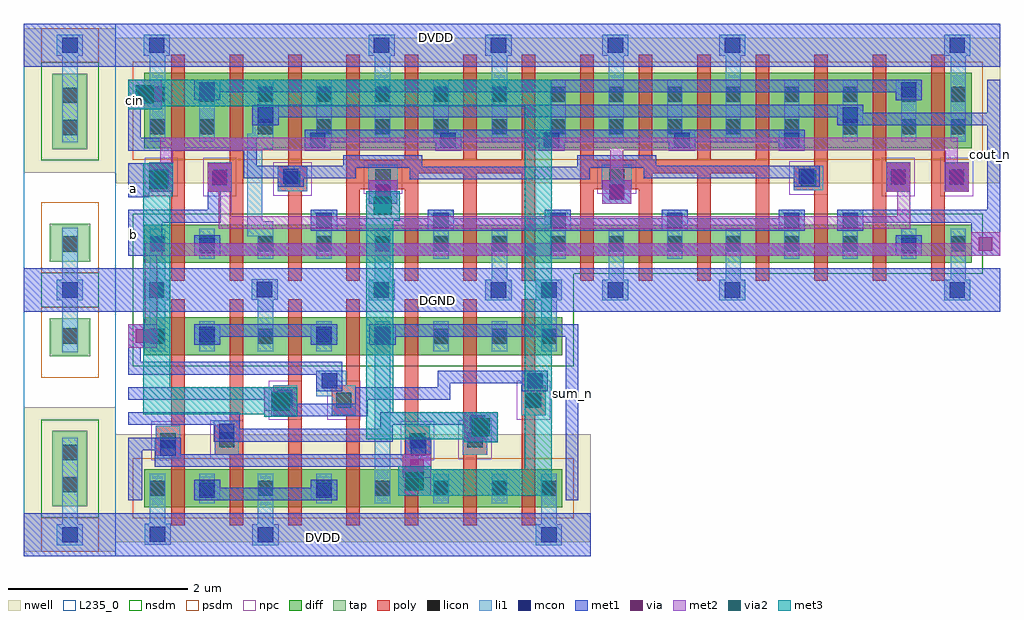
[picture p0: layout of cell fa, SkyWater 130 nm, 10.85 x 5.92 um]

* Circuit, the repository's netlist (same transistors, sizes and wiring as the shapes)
** sch_path: /home/ee24s053/ee5311-2025/tut6/sim/pre_layout/fa.sch
.subckt fa DVDD a b cin sum_n cout_n DGND
*.PININFO DVDD:B DGND:B sum_n:O cout_n:O a:I b:I cin:I
XM3 net5 a DGND DGND sky130_fd_pr__nfet_01v8 L=0.15 W=1.68 nf=1 m=1
XM7 cout_n cin net5 DGND sky130_fd_pr__nfet_01v8 L=0.15 W=0.84 nf=1 m=1
XM8 net5 b DGND DGND sky130_fd_pr__nfet_01v8 L=0.15 W=1.68 nf=1 m=1
XM9 net2 a DGND DGND sky130_fd_pr__nfet_01v8 L=0.15 W=0.42 nf=1 m=1
XM10 net2 b DGND DGND sky130_fd_pr__nfet_01v8 L=0.15 W=0.42 nf=1 m=1
XM11 net2 cin DGND DGND sky130_fd_pr__nfet_01v8 L=0.15 W=0.42 nf=1 m=1
XM12 sum_n cout_n net2 DGND sky130_fd_pr__nfet_01v8 L=0.15 W=0.42 nf=1 m=1
XM13 sum_n cin net7 DGND sky130_fd_pr__nfet_01v8 L=0.15 W=0.42 nf=1 m=1
XM14 net7 b net8 DGND sky130_fd_pr__nfet_01v8 L=0.15 W=0.42 nf=1 m=1
XM15 net8 a DGND DGND sky130_fd_pr__nfet_01v8 L=0.15 W=0.42 nf=1 m=1
XM16 net3 a DVDD DVDD sky130_fd_pr__pfet_01v8 L=0.15 W=1.68 nf=1 m=1
XM18 net4 a DVDD DVDD sky130_fd_pr__pfet_01v8 L=0.15 W=3.36 nf=1 m=1
XM22 cout_n cin net4 DVDD sky130_fd_pr__pfet_01v8 L=0.15 W=1.68 nf=1 m=1
XM23 net4 b DVDD DVDD sky130_fd_pr__pfet_01v8 L=0.15 W=3.36 nf=1 m=1
XM25 sum_n cin net9 DVDD sky130_fd_pr__pfet_01v8 L=0.15 W=0.42 nf=1 m=1
XM26 net9 b net10 DVDD sky130_fd_pr__pfet_01v8 L=0.15 W=0.42 nf=1 m=1
XM27 net10 a DVDD DVDD sky130_fd_pr__pfet_01v8 L=0.15 W=0.42 nf=1 m=1
XM1 net6 a DGND DGND sky130_fd_pr__nfet_01v8 L=0.15 W=0.84 nf=1 m=1
XM2 cout_n b net3 DVDD sky130_fd_pr__pfet_01v8 L=0.15 W=1.68 nf=1 m=1
XM4 cout_n b net6 DGND sky130_fd_pr__nfet_01v8 L=0.15 W=0.84 nf=1 m=1
XM5 net1 a DVDD DVDD sky130_fd_pr__pfet_01v8 L=0.15 W=0.42 nf=1 m=1
XM6 net1 b DVDD DVDD sky130_fd_pr__pfet_01v8 L=0.15 W=0.42 nf=1 m=1
XM17 net1 cin DVDD DVDD sky130_fd_pr__pfet_01v8 L=0.15 W=0.42 nf=1 m=1
XM19 sum_n cout_n net1 DVDD sky130_fd_pr__pfet_01v8 L=0.15 W=0.42 nf=1 m=1
.ends
.end

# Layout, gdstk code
from math import pi, radians
import gdstk
lib = gdstk.Library(unit=1e-6, precision=1e-09)
def R(c, l, rs):  # rectangles x0, y0, x1, y1
    for r in rs: c.add(gdstk.rectangle(r[:2], r[2:], *l))
def A(c, l, x, y, w, h, nx, ny, dx, dy):  # array of equal rectangles
    R(c, l, [(x+i*dx, y+j*dy, x+i*dx+w, y+j*dy+h) for i in range(nx) for j in range(ny)])
nwell = (64, 20)
diff = (65, 20)
tap = (65, 44)
poly = (66, 20)
licon = (66, 44)
li1 = (67, 20)
mcon = (67, 44)
met1 = (68, 20)
via = (68, 44)
met2 = (69, 20)
via2 = (69, 44)
met3 = (70, 20)
nsdm = (93, 44)
psdm = (94, 20)
npc = (95, 20)
L235_0 = (235, 0)

vias_gen = lib.new_cell('vias_gen')
R(vias_gen, li1, [(0,0,0.29,0.23)])
R(vias_gen, mcon, [(0.06,0.03,0.23,0.2)])
R(vias_gen, met1, [(0,0,0.29,0.23)])

tap_2 = lib.new_cell('tap$2')
R(tap_2, nwell, [(-1.455,0.92,-0.435,2.525)])
R(tap_2, tap, [(-1.17,-0.07,-0.72,0.35), (-1.14,1.18,-0.75,2.02)])
R(tap_2, licon, [(-1.03,0.04,-0.86,0.21), (-1.03,1.335,-0.86,1.505), (-1.03,1.695,-0.86,1.865)])
R(tap_2, li1, [(-1.03,-0.3,-0.86,-0.025), (-1.03,-0.025,-0.86,0.305), (-1.03,1.255,-0.86,1.945), (-1.03,1.945,-0.86,2.25)])
R(tap_2, met1, [(-1.455,-0.625,-0.435,-0.145), (-1.455,2.095,-0.435,2.575)])
R(tap_2, nsdm, [(-1.265,-0.575,-0.625,-0.195), (-1.265,1.055,-0.625,2.145)])
R(tap_2, psdm, [(-1.265,-0.195,-0.625,0.59), (-1.265,2.145,-0.625,2.525)])
R(tap_2, L235_0, [(-1.455,-0.625,-0.435,2.575)])
tap_2.add(gdstk.Reference(vias_gen, (-1.09,-0.5)))
tap_2.add(gdstk.Reference(vias_gen, (-1.09,2.22)))

pfet_1_1 = lib.new_cell('pfet$1$1')
R(pfet_1_1, nwell, [(-0.315,-0.39,9.515,1.23)])
R(pfet_1_1, diff, [(0,0,9.2,0.84)])
A(pfet_1_1, poly, 0.3, -0.2, 0.15, 1.24, 14, 1, 0.65, 0)
A(pfet_1_1, licon, 0.615, 0.155, 0.17, 0.17, 13, 2, 0.65, 0.36)
R(pfet_1_1, licon, [(0.065,0.155,0.235,0.325), (8.965,0.155,9.135,0.325), (0.065,0.515,0.235,0.685), (8.965,0.515,9.135,0.685)])
A(pfet_1_1, li1, 0.615, 0.075, 0.17, 0.69, 13, 1, 0.65, 0)
R(pfet_1_1, li1, [(0.065,0.075,0.235,0.765), (8.965,0.075,9.135,0.765)])
R(pfet_1_1, psdm, [(-0.125,-0.125,9.325,0.965)])

nfet_1_1 = lib.new_cell('nfet$1$1')
R(nfet_1_1, diff, [(0,0,9.2,0.42)])
A(nfet_1_1, poly, 0.3, -0.2, 0.15, 0.82, 14, 1, 0.65, 0)
A(nfet_1_1, licon, 0.615, 0.125, 0.17, 0.17, 13, 1, 0.65, 0)
R(nfet_1_1, licon, [(0.065,0.125,0.235,0.295), (8.965,0.125,9.135,0.295)])
A(nfet_1_1, li1, 0.615, 0.045, 0.17, 0.33, 13, 1, 0.65, 0)
R(nfet_1_1, li1, [(0.065,0.045,0.235,0.375), (8.965,0.045,9.135,0.375)])
R(nfet_1_1, nsdm, [(-0.125,-0.125,9.325,0.545)])

vias_gen_1_1 = lib.new_cell('vias_gen$1$1')
R(vias_gen_1_1, li1, [(0,0,0.29,0.23)])
R(vias_gen_1_1, mcon, [(0.06,0.03,0.23,0.2)])
R(vias_gen_1_1, met1, [(0,0,0.29,0.23)])

vias_gen_3_1 = lib.new_cell('vias_gen$3$1')
R(vias_gen_3_1, poly, [(0,0,0.33,0.27)])
R(vias_gen_3_1, licon, [(0.08,0.05,0.25,0.22)])
R(vias_gen_3_1, li1, [(0,0,0.33,0.27)])
R(vias_gen_3_1, npc, [(-0.05,-0.05,0.38,0.32)])

vias_gen_2_1 = lib.new_cell('vias_gen$2$1')
R(vias_gen_2_1, li1, [(0,0,0.29,0.23)])
R(vias_gen_2_1, mcon, [(0.06,0.03,0.23,0.2)])
R(vias_gen_2_1, met1, [(0,0,0.29,0.23)])

vias_gen_4_1 = lib.new_cell('vias_gen$4$1')
R(vias_gen_4_1, li1, [(0,0,0.32,0.26)])
R(vias_gen_4_1, mcon, [(0.075,0.045,0.245,0.215)])
R(vias_gen_4_1, met1, [(0,0,0.32,0.26)])
R(vias_gen_4_1, via, [(0.085,0.055,0.235,0.205)])
R(vias_gen_4_1, met2, [(0,0,0.32,0.26)])

fa_carry_wo_tap = lib.new_cell('fa_carry_wo_tap')
R(fa_carry_wo_tap, poly, [(-6,0.495,-5.91,0.675), (-5.58,0.495,-5.5,0.675), (-3.4,0.495,-3.31,0.675), (-2.98,0.495,-2.9,0.675)])
R(fa_carry_wo_tap, li1, [(-7.255,-0.03,-6.965,0.14), (-7.255,0.94,-6.965,1.11), (-7.195,1.11,-7.135,1.205)])
R(fa_carry_wo_tap, met1, [(-8.715,-0.865,1.115,-0.385), (-8.575,-0.105,-8.34,0.265), (-8.575,0.405,-8.34,0.785), (-8.715,1.855,1.115,2.335)])
fa_carry_wo_tap.add(gdstk.FlexPath([(-4.45,1.715),(-4.45,1.98)], 0.17, ends="flush", simple_path=True, layer=67, datatype=20))  # li1
fa_carry_wo_tap.add(gdstk.FlexPath([(-5.75,1.715),(-5.75,1.98)], 0.17, ends="flush", simple_path=True, layer=67, datatype=20))  # li1
fa_carry_wo_tap.add(gdstk.FlexPath([(0.65,1.715),(0.65,1.98)], 0.17, ends="flush", simple_path=True, layer=67, datatype=20))  # li1
fa_carry_wo_tap.add(gdstk.FlexPath([(-8.25,1.715),(-8.25,1.98)], 0.17, ends="flush", simple_path=True, layer=67, datatype=20))  # li1
fa_carry_wo_tap.add(gdstk.FlexPath([(-3.15,1.715),(-3.15,1.98)], 0.17, ends="flush", simple_path=True, layer=67, datatype=20))  # li1
fa_carry_wo_tap.add(gdstk.FlexPath([(-1.85,1.715),(-1.85,1.98)], 0.17, ends="flush", simple_path=True, layer=67, datatype=20))  # li1
fa_carry_wo_tap.add(gdstk.FlexPath([(-4.45,-0.275),(-4.45,-0.51)], 0.17, ends="flush", simple_path=True, layer=67, datatype=20))  # li1
fa_carry_wo_tap.add(gdstk.FlexPath([(-5.75,-0.275),(-5.75,-0.51)], 0.17, ends="flush", simple_path=True, layer=67, datatype=20))  # li1
fa_carry_wo_tap.add(gdstk.FlexPath([(0.65,-0.275),(0.65,-0.51)], 0.17, ends="flush", simple_path=True, layer=67, datatype=20))  # li1
fa_carry_wo_tap.add(gdstk.FlexPath([(-8.25,-0.275),(-8.25,-0.51)], 0.17, ends="flush", simple_path=True, layer=67, datatype=20))  # li1
fa_carry_wo_tap.add(gdstk.FlexPath([(-3.15,-0.275),(-3.15,-0.51)], 0.17, ends="flush", simple_path=True, layer=67, datatype=20))  # li1
fa_carry_wo_tap.add(gdstk.FlexPath([(-1.85,-0.275),(-1.85,-0.51)], 0.17, ends="flush", simple_path=True, layer=67, datatype=20))  # li1
fa_carry_wo_tap.add(gdstk.FlexPath([(-7.17,0.055),(-7.17,1.025)], 0.17, ends="flush", simple_path=True, layer=67, datatype=20))  # li1
fa_carry_wo_tap.add(gdstk.FlexPath([(-1.18,0.685),(-2.775,0.685),(-2.775,0.805),(-3.515,0.805),(-3.515,0.675),(-5.375,0.675),(-5.375,0.805),(-6.115,0.805),(-6.115,0.685),(-6.625,0.685)], 0.14, ends="flush", simple_path=True, layer=68, datatype=20))  # met1
fa_carry_wo_tap.add(gdstk.FlexPath([(-6.915,0.685),(-7.22,0.685),(-7.22,0.995),(-8.505,0.995),(-8.505,1.715)], 0.14, ends="flush", simple_path=True, layer=68, datatype=20))  # met1
fa_carry_wo_tap.add(gdstk.FlexPath([(-7.62,0.465),(-7.62,0.195),(-8.27,0.195),(-8.27,-0.175),(-8.575,-0.175)], 0.14, ends="flush", simple_path=True, layer=68, datatype=20))  # met1
fa_carry_wo_tap.add(gdstk.FlexPath([(-1.345,1.085),(-6.325,1.085)], 0.14, ends="flush", simple_path=True, layer=68, datatype=20))  # met1
fa_carry_wo_tap.add(gdstk.FlexPath([(-0.045,1.645),(-7.555,1.645)], 0.14, ends="flush", simple_path=True, layer=68, datatype=20))  # met1
fa_carry_wo_tap.add(gdstk.FlexPath([(-0.695,1.365),(-6.905,1.365)], 0.14, ends="flush", simple_path=True, layer=68, datatype=20))  # met1
fa_carry_wo_tap.add(gdstk.FlexPath([(-0.045,-0.175),(-7.555,-0.175)], 0.14, ends="flush", simple_path=True, layer=68, datatype=20))  # met1
fa_carry_wo_tap.add(gdstk.FlexPath([(-1.345,0.105),(-6.255,0.105)], 0.14, ends="flush", simple_path=True, layer=68, datatype=20))  # met1
fa_carry_wo_tap.add(gdstk.FlexPath([(-0.405,0.195),(1.045,0.195),(1.045,1.715)], 0.14, ends="flush", simple_path=True, layer=68, datatype=20))  # met1
fa_carry_wo_tap.add(gdstk.FlexPath([(1.045,0.125),(1.045,-0.245)], 0.14, ends="flush", simple_path=True, layer=68, datatype=20))  # met1
fa_carry_wo_tap.add(gdstk.FlexPath([(-0.405,1.275),(0.975,1.275)], 0.14, ends="flush", simple_path=True, layer=68, datatype=20))  # met1
fa_carry_wo_tap.add(gdstk.FlexPath([(-7.57,0.125),(0.115,0.125)], 0.14, ends="flush", simple_path=True, layer=69, datatype=20))  # met2
fa_carry_wo_tap.add(gdstk.FlexPath([(-8.22,1),(0.645,1)], 0.14, ends="flush", simple_path=True, layer=69, datatype=20))  # met2
fa_carry_wo_tap.add(gdstk.FlexPath([(-8.15,0.785),(-8.15,0.93)], 0.14, ends="flush", simple_path=True, layer=69, datatype=20))  # met2
fa_carry_wo_tap.add(gdstk.FlexPath([(-3.145,0.595),(-3.145,0.93)], 0.14, ends="flush", simple_path=True, layer=69, datatype=20))  # met2
fa_carry_wo_tap.add(gdstk.FlexPath([(0.575,0.79),(0.575,0.93)], 0.14, ends="flush", simple_path=True, layer=69, datatype=20))  # met2
fa_carry_wo_tap.add(gdstk.FlexPath([(-7.5,0.465),(-7.5,0.195)], 0.14, ends="flush", simple_path=True, layer=69, datatype=20))  # met2
fa_carry_wo_tap.add(gdstk.FlexPath([(-5.745,0.335),(-5.745,0.195)], 0.14, ends="flush", simple_path=True, layer=69, datatype=20))  # met2
fa_carry_wo_tap.add(gdstk.FlexPath([(0.045,0.47),(0.045,0.195)], 0.14, ends="flush", simple_path=True, layer=69, datatype=20))  # met2
fa_carry_wo_tap.add(gdstk.FlexPath([(-6,0.75),(-4.2,0.75)], 0.15, ends="flush", simple_path=True, layer=66, datatype=20))  # poly
fa_carry_wo_tap.add(gdstk.FlexPath([(-3.4,0.75),(-1.6,0.75)], 0.15, ends="flush", simple_path=True, layer=66, datatype=20))  # poly
fa_carry_wo_tap.add(gdstk.FlexPath([(0.425,0.75),(0.425,0.3)], 0.15, ends="flush", simple_path=True, layer=66, datatype=20))  # poly
fa_carry_wo_tap.add(gdstk.FlexPath([(-0.225,0.75),(-0.225,0.3)], 0.15, ends="flush", simple_path=True, layer=66, datatype=20))  # poly
fa_carry_wo_tap.add(gdstk.FlexPath([(-0.875,0.75),(-0.875,0.3)], 0.15, ends="flush", simple_path=True, layer=66, datatype=20))  # poly
fa_carry_wo_tap.add(gdstk.FlexPath([(-1.525,0.75),(-1.525,0.3)], 0.15, ends="flush", simple_path=True, layer=66, datatype=20))  # poly
fa_carry_wo_tap.add(gdstk.FlexPath([(-2.175,0.75),(-2.175,0.3)], 0.15, ends="flush", simple_path=True, layer=66, datatype=20))  # poly
fa_carry_wo_tap.add(gdstk.FlexPath([(-2.825,0.75),(-2.825,0.3)], 0.15, ends="flush", simple_path=True, layer=66, datatype=20))  # poly
fa_carry_wo_tap.add(gdstk.FlexPath([(-3.475,0.75),(-3.475,0.3)], 0.15, ends="flush", simple_path=True, layer=66, datatype=20))  # poly
fa_carry_wo_tap.add(gdstk.FlexPath([(-4.125,0.75),(-4.125,0.3)], 0.15, ends="flush", simple_path=True, layer=66, datatype=20))  # poly
fa_carry_wo_tap.add(gdstk.FlexPath([(-4.775,0.75),(-4.775,0.3)], 0.15, ends="flush", simple_path=True, layer=66, datatype=20))  # poly
fa_carry_wo_tap.add(gdstk.FlexPath([(-5.425,0.75),(-5.425,0.3)], 0.15, ends="flush", simple_path=True, layer=66, datatype=20))  # poly
fa_carry_wo_tap.add(gdstk.FlexPath([(-6.075,0.75),(-6.075,0.3)], 0.15, ends="flush", simple_path=True, layer=66, datatype=20))  # poly
fa_carry_wo_tap.add(gdstk.FlexPath([(-6.725,0.75),(-6.725,0.3)], 0.15, ends="flush", simple_path=True, layer=66, datatype=20))  # poly
fa_carry_wo_tap.add(gdstk.FlexPath([(-7.375,0.75),(-7.375,0.3)], 0.15, ends="flush", simple_path=True, layer=66, datatype=20))  # poly
fa_carry_wo_tap.add(gdstk.FlexPath([(-8.025,0.75),(-8.025,0.3)], 0.15, ends="flush", simple_path=True, layer=66, datatype=20))  # poly
fa_carry_wo_tap.add(gdstk.FlexPath([(-8.025,0.75),(-8.025,0.3)], 0.15, ends="flush", simple_path=True, layer=66, datatype=20))  # poly
fa_carry_wo_tap.add(gdstk.Reference(pfet_1_1, (-8.4,0.95)))
fa_carry_wo_tap.add(gdstk.Reference(nfet_1_1, (-8.4,-0.32)))
fa_carry_wo_tap.add(gdstk.Reference(vias_gen_1_1, (-0.045,1.485)))
fa_carry_wo_tap.add(gdstk.Reference(vias_gen_1_1, (-7.845,1.485)))
fa_carry_wo_tap.add(gdstk.Reference(vias_gen_1_1, (-0.695,1.205)))
fa_carry_wo_tap.add(gdstk.Reference(vias_gen_1_1, (-7.195,1.205)))
fa_carry_wo_tap.add(gdstk.Reference(vias_gen_1_1, (-5.165,0.925)))
fa_carry_wo_tap.add(gdstk.Reference(vias_gen_1_1, (-4.015,0.925)))
fa_carry_wo_tap.add(gdstk.Reference(vias_gen_1_1, (-2.565,0.925)))
fa_carry_wo_tap.add(gdstk.Reference(vias_gen_1_1, (-1.345,0.925)))
fa_carry_wo_tap.add(gdstk.Reference(vias_gen_1_1, (-0.045,-0.245)))
fa_carry_wo_tap.add(gdstk.Reference(vias_gen_1_1, (-7.845,-0.245)))
fa_carry_wo_tap.add(gdstk.Reference(vias_gen_1_1, (-1.345,0.035)))
fa_carry_wo_tap.add(gdstk.Reference(vias_gen_1_1, (-5.245,0.035)))
fa_carry_wo_tap.add(gdstk.Reference(vias_gen_1_1, (-3.945,0.035)))
fa_carry_wo_tap.add(gdstk.Reference(vias_gen_1_1, (-2.645,0.035)))
fa_carry_wo_tap.add(gdstk.Reference(vias_gen_1_1, (-0.695,0.035)))
fa_carry_wo_tap.add(gdstk.Reference(vias_gen_3_1, (0.12,0.465), rotation=pi/2))
fa_carry_wo_tap.add(gdstk.Reference(vias_gen_3_1, (0.77,0.465), rotation=pi/2))
fa_carry_wo_tap.add(gdstk.Reference(vias_gen_3_1, (-1.18,0.485)))
fa_carry_wo_tap.add(gdstk.Reference(vias_gen_3_1, (-3.31,0.495)))
fa_carry_wo_tap.add(gdstk.Reference(vias_gen_3_1, (-5.91,0.495)))
fa_carry_wo_tap.add(gdstk.Reference(vias_gen_2_1, (-1.18,0.525)))
fa_carry_wo_tap.add(gdstk.Reference(vias_gen_3_1, (-8.075,0.465), rotation=pi/2))
fa_carry_wo_tap.add(gdstk.Reference(vias_gen_2_1, (-6.915,0.525)))
fa_carry_wo_tap.add(gdstk.Reference(vias_gen_3_1, (-6.915,0.475)))
fa_carry_wo_tap.add(gdstk.Reference(vias_gen_3_1, (-7.425,0.465), rotation=pi/2))
fa_carry_wo_tap.add(gdstk.Reference(vias_gen_1_1, (-6.545,0.035)))
fa_carry_wo_tap.add(gdstk.Reference(vias_gen_4_1, (-8.08,0.465), rotation=pi/2))
fa_carry_wo_tap.add(gdstk.Reference(vias_gen_4_1, (-7.43,0.465), rotation=pi/2))
fa_carry_wo_tap.add(gdstk.Reference(vias_gen_4_1, (-5.905,0.335)))
fa_carry_wo_tap.add(gdstk.Reference(vias_gen_1_1, (-6.615,0.925)))
fa_carry_wo_tap.add(gdstk.Reference(vias_gen_4_1, (-3.305,0.335)))
fa_carry_wo_tap.add(gdstk.Reference(vias_gen_4_1, (0.115,0.47), rotation=pi/2))
fa_carry_wo_tap.add(gdstk.Reference(vias_gen_4_1, (0.765,0.47), rotation=pi/2))
fa_carry_wo_tap.add(gdstk.Reference(vias_gen_2_1, (-2.005,1.98)))
fa_carry_wo_tap.add(gdstk.Reference(vias_gen_2_1, (-3.305,1.98)))
fa_carry_wo_tap.add(gdstk.Reference(vias_gen_2_1, (-8.405,1.98)))
fa_carry_wo_tap.add(gdstk.Reference(vias_gen_2_1, (0.495,1.98)))
fa_carry_wo_tap.add(gdstk.Reference(vias_gen_2_1, (-5.905,1.98)))
fa_carry_wo_tap.add(gdstk.Reference(vias_gen_2_1, (-4.605,1.98)))
fa_carry_wo_tap.add(gdstk.Reference(vias_gen_2_1, (-2.005,-0.51), x_reflection=True))
fa_carry_wo_tap.add(gdstk.Reference(vias_gen_2_1, (-3.305,-0.51), x_reflection=True))
fa_carry_wo_tap.add(gdstk.Reference(vias_gen_2_1, (-8.405,-0.51), x_reflection=True))
fa_carry_wo_tap.add(gdstk.Reference(vias_gen_2_1, (0.495,-0.51), x_reflection=True))
fa_carry_wo_tap.add(gdstk.Reference(vias_gen_2_1, (-5.905,-0.51), x_reflection=True))
fa_carry_wo_tap.add(gdstk.Reference(vias_gen_2_1, (-4.605,-0.51), x_reflection=True))
fa_carry_wo_tap.add(gdstk.Label('cin', (-8.55,1.25), layer=68, texttype=5))
fa_carry_wo_tap.add(gdstk.Label('a', (-8.525,0.5), layer=68, texttype=5))
fa_carry_wo_tap.add(gdstk.Label('b', (-8.525,-0.015), layer=68, texttype=5))
fa_carry_wo_tap.add(gdstk.Label('cout_n', (1.01,0.88), layer=68, texttype=5))
fa_carry_wo_tap.add(gdstk.Label('DVDD', (-5.15,2.18), layer=68, texttype=5))
fa_carry_wo_tap.add(gdstk.Label('DGND', (-5.14,-0.745), layer=68, texttype=5))

tap_1 = lib.new_cell('tap$1')
R(tap_1, nwell, [(-1.455,0.92,-0.435,2.525)])
R(tap_1, tap, [(-1.17,-0.07,-0.72,0.35), (-1.14,1.18,-0.75,2.02)])
R(tap_1, licon, [(-1.03,0.04,-0.86,0.21), (-1.03,1.335,-0.86,1.505), (-1.03,1.695,-0.86,1.865)])
R(tap_1, li1, [(-1.03,-0.3,-0.86,-0.025), (-1.03,-0.025,-0.86,0.305), (-1.03,1.255,-0.86,1.945), (-1.03,1.945,-0.86,2.25)])
R(tap_1, met1, [(-1.455,-0.625,-0.435,-0.145), (-1.455,2.095,-0.435,2.575)])
R(tap_1, nsdm, [(-1.265,-0.575,-0.625,-0.195), (-1.265,1.055,-0.625,2.145)])
R(tap_1, psdm, [(-1.265,-0.195,-0.625,0.59), (-1.265,2.145,-0.625,2.525)])
R(tap_1, L235_0, [(-1.455,-0.625,-0.435,2.575)])
tap_1.add(gdstk.Reference(vias_gen, (-1.09,2.22)))

nfet_1 = lib.new_cell('nfet$1')
R(nfet_1, diff, [(0,0,4.65,0.42)])
A(nfet_1, poly, 0.3, -0.2, 0.15, 0.82, 7, 1, 0.65, 0)
A(nfet_1, licon, 0.615, 0.125, 0.17, 0.17, 6, 1, 0.65, 0)
R(nfet_1, licon, [(0.065,0.125,0.235,0.295), (4.415,0.125,4.585,0.295)])
A(nfet_1, li1, 0.615, 0.045, 0.17, 0.33, 6, 1, 0.65, 0)
R(nfet_1, li1, [(0.065,0.045,0.235,0.375), (4.415,0.045,4.585,0.375)])
R(nfet_1, nsdm, [(-0.125,-0.125,4.775,0.545)])

vias_gen_1 = lib.new_cell('vias_gen$1')
R(vias_gen_1, li1, [(-0.01,-0.005,0.28,0.225)])
R(vias_gen_1, mcon, [(0.05,0.025,0.22,0.195)])
R(vias_gen_1, met1, [(-0.01,-0.005,0.28,0.225)])

vias_gen_2 = lib.new_cell('vias_gen$2')
R(vias_gen_2, poly, [(0,0,0.33,0.27)])
R(vias_gen_2, licon, [(0.08,0.05,0.25,0.22)])
R(vias_gen_2, li1, [(0,0,0.33,0.27)])
R(vias_gen_2, npc, [(-0.05,-0.05,0.38,0.32)])

vias_gen_3 = lib.new_cell('vias_gen$3')
R(vias_gen_3, li1, [(0,0,0.29,0.23)])
R(vias_gen_3, mcon, [(0.06,0.03,0.23,0.2)])
R(vias_gen_3, met1, [(0,0,0.29,0.23)])

vias_gen_4 = lib.new_cell('vias_gen$4')
R(vias_gen_4, li1, [(0,0,0.29,0.23)])
R(vias_gen_4, mcon, [(0.06,0.03,0.23,0.2)])
R(vias_gen_4, met1, [(0,0,0.29,0.23)])

pfet_1 = lib.new_cell('pfet$1')
R(pfet_1, nwell, [(-0.315,-0.39,4.965,0.81)])
R(pfet_1, diff, [(0,0,4.65,0.42)])
A(pfet_1, poly, 0.3, -0.2, 0.15, 0.82, 7, 1, 0.65, 0)
A(pfet_1, licon, 0.615, 0.125, 0.17, 0.17, 6, 1, 0.65, 0)
R(pfet_1, licon, [(0.065,0.125,0.235,0.295), (4.415,0.125,4.585,0.295)])
A(pfet_1, li1, 0.615, 0.045, 0.17, 0.33, 6, 1, 0.65, 0)
R(pfet_1, li1, [(0.065,0.045,0.235,0.375), (4.415,0.045,4.585,0.375)])
R(pfet_1, psdm, [(-0.125,-0.125,4.775,0.545)])

vias_gen_5 = lib.new_cell('vias_gen$5')
R(vias_gen_5, li1, [(0,0,0.29,0.23)])
R(vias_gen_5, mcon, [(0.06,0.03,0.23,0.2)])
R(vias_gen_5, met1, [(0,0,0.29,0.23)])

fa_sum_wo_tap = lib.new_cell('fa_sum_wo_tap')
R(fa_sum_wo_tap, li1, [(-1.935,1.395,-1.765,1.45), (-1.645,1.515,-1.605,1.68)])
R(fa_sum_wo_tap, met1, [(-4.165,-0.385,1.115,0.095), (-4.025,0.235,-3.87,0.795), (-4.025,1.775,-3.885,2.195), (-4.165,2.335,1.115,2.815)])
fa_sum_wo_tap.add(gdstk.FlexPath([(0.65,2.225),(0.65,2.46)], 0.17, ends="flush", simple_path=True, layer=67, datatype=20))  # li1
fa_sum_wo_tap.add(gdstk.FlexPath([(-3.7,2.22),(-3.7,2.46)], 0.17, ends="flush", simple_path=True, layer=67, datatype=20))  # li1
fa_sum_wo_tap.add(gdstk.FlexPath([(-2.5,2.225),(-2.5,2.465)], 0.17, ends="flush", simple_path=True, layer=67, datatype=20))  # li1
fa_sum_wo_tap.add(gdstk.FlexPath([(-1.2,0.535),(-1.2,1.895)], 0.17, ends="flush", simple_path=True, layer=67, datatype=20))  # li1
fa_sum_wo_tap.add(gdstk.FlexPath([(0.65,0.205),(0.65,-0.03)], 0.17, ends="flush", simple_path=True, layer=67, datatype=20))  # li1
fa_sum_wo_tap.add(gdstk.FlexPath([(-3.7,0.21),(-3.7,-0.025)], 0.17, ends="flush", simple_path=True, layer=67, datatype=20))  # li1
fa_sum_wo_tap.add(gdstk.FlexPath([(-2.5,0.205),(-2.5,-0.03)], 0.17, ends="flush", simple_path=True, layer=67, datatype=20))  # li1
fa_sum_wo_tap.add(gdstk.FlexPath([(-1.435,1.495),(-1.435,1.24),(-2.435,1.24)], 0.14, ends="flush", simple_path=True, layer=68, datatype=20))  # met1
fa_sum_wo_tap.add(gdstk.FlexPath([(-0.585,1.425),(-1.365,1.425)], 0.14, ends="flush", simple_path=True, layer=68, datatype=20))  # met1
fa_sum_wo_tap.add(gdstk.FlexPath([(-0.515,1.68),(-0.515,1.355)], 0.14, ends="flush", simple_path=True, layer=68, datatype=20))  # met1
fa_sum_wo_tap.add(gdstk.FlexPath([(-0.445,1.61),(0.35,1.61)], 0.14, ends="flush", simple_path=True, layer=68, datatype=20))  # met1
fa_sum_wo_tap.add(gdstk.FlexPath([(-1.225,0.96),(-2.785,0.96)], 0.14, ends="flush", simple_path=True, layer=68, datatype=20))  # met1
fa_sum_wo_tap.add(gdstk.FlexPath([(-1.155,1.215),(-1.155,0.89)], 0.14, ends="flush", simple_path=True, layer=68, datatype=20))  # met1
fa_sum_wo_tap.add(gdstk.FlexPath([(-1.085,1.145),(-0.29,1.145)], 0.14, ends="flush", simple_path=True, layer=68, datatype=20))  # met1
fa_sum_wo_tap.add(gdstk.FlexPath([(-3.73,0.68),(-0.655,0.68)], 0.14, ends="flush", simple_path=True, layer=68, datatype=20))  # met1
fa_sum_wo_tap.add(gdstk.FlexPath([(-3.005,0.305),(-1.995,0.305)], 0.14, ends="flush", simple_path=True, layer=68, datatype=20))  # met1
fa_sum_wo_tap.add(gdstk.FlexPath([(-3.005,2.125),(-1.995,2.125)], 0.14, ends="flush", simple_path=True, layer=68, datatype=20))  # met1
fa_sum_wo_tap.add(gdstk.FlexPath([(-1.645,1.705),(-4.025,1.705)], 0.14, ends="flush", simple_path=True, layer=68, datatype=20))  # met1
fa_sum_wo_tap.add(gdstk.FlexPath([(-3.73,0.865),(-4.025,0.865)], 0.14, ends="flush", simple_path=True, layer=68, datatype=20))  # met1
fa_sum_wo_tap.add(gdstk.FlexPath([(-2.435,1.425),(-4.025,1.425)], 0.14, ends="flush", simple_path=True, layer=68, datatype=20))  # met1
fa_sum_wo_tap.add(gdstk.FlexPath([(-2.785,1.145),(-4.025,1.145)], 0.14, ends="flush", simple_path=True, layer=68, datatype=20))  # met1
fa_sum_wo_tap.add(gdstk.FlexPath([(-1.055,2.125),(0.905,2.125),(0.905,0.235)], 0.14, ends="flush", simple_path=True, layer=68, datatype=20))  # met1
fa_sum_wo_tap.add(gdstk.FlexPath([(-3.475,1.65),(-3.475,0.78)], 0.15, ends="flush", simple_path=True, layer=66, datatype=20))  # poly
fa_sum_wo_tap.add(gdstk.FlexPath([(-2.825,1.65),(-2.825,0.78)], 0.15, ends="flush", simple_path=True, layer=66, datatype=20))  # poly
fa_sum_wo_tap.add(gdstk.FlexPath([(-2.175,1.65),(-2.175,0.78)], 0.15, ends="flush", simple_path=True, layer=66, datatype=20))  # poly
fa_sum_wo_tap.add(gdstk.FlexPath([(-1.525,1.65),(-1.525,0.78)], 0.15, ends="flush", simple_path=True, layer=66, datatype=20))  # poly
fa_sum_wo_tap.add(gdstk.FlexPath([(-0.875,1.65),(-0.875,0.78)], 0.15, ends="flush", simple_path=True, layer=66, datatype=20))  # poly
fa_sum_wo_tap.add(gdstk.FlexPath([(-0.225,1.65),(-0.225,0.78)], 0.15, ends="flush", simple_path=True, layer=66, datatype=20))  # poly
fa_sum_wo_tap.add(gdstk.FlexPath([(0.425,1.65),(0.425,0.78)], 0.15, ends="flush", simple_path=True, layer=66, datatype=20))  # poly
fa_sum_wo_tap.add(gdstk.Reference(nfet_1, (-3.85,2.27), x_reflection=True))
fa_sum_wo_tap.add(gdstk.Reference(vias_gen_1, (-2.645,2.69), x_reflection=True))
fa_sum_wo_tap.add(gdstk.Reference(vias_gen_1, (-3.845,2.685), x_reflection=True))
fa_sum_wo_tap.add(gdstk.Reference(vias_gen_2, (-3.45,1.065), rotation=3*pi/2, x_reflection=True))
fa_sum_wo_tap.add(gdstk.Reference(vias_gen_2, (-2.795,1.075), rotation=3*pi/2, x_reflection=True))
fa_sum_wo_tap.add(gdstk.Reference(vias_gen_2, (-2.145,1.515), rotation=3*pi/2, x_reflection=True))
fa_sum_wo_tap.add(gdstk.Reference(vias_gen_3, (0.505,2.69), x_reflection=True))
fa_sum_wo_tap.add(gdstk.Reference(vias_gen_2, (-0.675,1.065), rotation=3*pi/2, x_reflection=True))
fa_sum_wo_tap.add(gdstk.Reference(vias_gen_2, (-1.495,1.515), rotation=3*pi/2, x_reflection=True))
fa_sum_wo_tap.add(gdstk.Reference(vias_gen_4, (-3.73,0.935), x_reflection=True))
fa_sum_wo_tap.add(gdstk.Reference(vias_gen_2, (0.615,1.515), rotation=3*pi/2, x_reflection=True))
fa_sum_wo_tap.add(gdstk.Reference(vias_gen_4, (-2.645,-0.26)))
fa_sum_wo_tap.add(gdstk.Reference(vias_gen_4, (-0.945,0.935), x_reflection=True))
fa_sum_wo_tap.add(gdstk.Reference(vias_gen_2, (-0.035,1.075), rotation=3*pi/2, x_reflection=True))
fa_sum_wo_tap.add(gdstk.Reference(vias_gen_3, (-3.295,2.195), x_reflection=True))
fa_sum_wo_tap.add(gdstk.Reference(vias_gen_4, (-3.075,1.12), x_reflection=True))
fa_sum_wo_tap.add(gdstk.Reference(vias_gen_4, (-0.29,1.215), x_reflection=True))
fa_sum_wo_tap.add(gdstk.Reference(pfet_1, (-3.85,0.58), x_reflection=True))
fa_sum_wo_tap.add(gdstk.Reference(vias_gen_4, (-3.845,-0.255)))
fa_sum_wo_tap.add(gdstk.Reference(vias_gen_4, (0.505,-0.26)))
fa_sum_wo_tap.add(gdstk.Reference(vias_gen_4, (-1.995,2.195), x_reflection=True))
fa_sum_wo_tap.add(gdstk.Reference(vias_gen_4, (-3.295,0.235)))
fa_sum_wo_tap.add(gdstk.Reference(vias_gen_4, (-1.995,0.235)))
fa_sum_wo_tap.add(gdstk.Reference(vias_gen_4, (-2.435,1.495), x_reflection=True))
fa_sum_wo_tap.add(gdstk.Reference(vias_gen_4, (0.35,1.68), x_reflection=True))
fa_sum_wo_tap.add(gdstk.Reference(vias_gen_4, (-1.935,1.68), x_reflection=True))
fa_sum_wo_tap.add(gdstk.Reference(vias_gen_5, (-1.345,2.195), x_reflection=True))
fa_sum_wo_tap.add(gdstk.Label('DGND', (-1.865,2.605), layer=68, texttype=5))
fa_sum_wo_tap.add(gdstk.Label('DVDD', (-1.865,-0.175), layer=68, texttype=5))
fa_sum_wo_tap.add(gdstk.Label('cout_in', (-4.025,1.96), layer=68, texttype=5))
fa_sum_wo_tap.add(gdstk.Label('a', (-3.965,1.425), layer=68, texttype=5))
fa_sum_wo_tap.add(gdstk.Label('b', (-3.98,1.145), layer=68, texttype=5))
fa_sum_wo_tap.add(gdstk.Label('cin', (-3.98,0.865), layer=68, texttype=5))
fa_sum_wo_tap.add(gdstk.Label('cin', (-3.975,0.705), layer=68, texttype=5))
fa_sum_wo_tap.add(gdstk.Label('cin', (-3.975,0.515), layer=68, texttype=5))
fa_sum_wo_tap.add(gdstk.Label('cin', (-3.975,0.335), layer=68, texttype=5))
fa_sum_wo_tap.add(gdstk.Label('sum_n', (0.9,2.035), layer=68, texttype=5))
fa_sum_wo_tap.add(gdstk.Label('sum_n', (0.88,1.35), layer=68, texttype=5))
fa_sum_wo_tap.add(gdstk.Label('sum_n', (0.87,0.415), layer=68, texttype=5))

vias_gen_6 = lib.new_cell('vias_gen$6')
R(vias_gen_6, met1, [(0,0,0.32,0.26)])
R(vias_gen_6, via, [(0.085,0.055,0.235,0.205)])
R(vias_gen_6, met2, [(0,0,0.32,0.26)])

vias_gen_8 = lib.new_cell('vias_gen$8')
R(vias_gen_8, met2, [(0,0,0.37,0.33)])
R(vias_gen_8, via2, [(0.085,0.065,0.285,0.265)])
R(vias_gen_8, met3, [(0,0,0.37,0.33)])

vias_gen_11 = lib.new_cell('vias_gen$11')
R(vias_gen_11, met1, [(0,0,0.37,0.26)])
R(vias_gen_11, via, [(0.11,0.055,0.26,0.205)])
R(vias_gen_11, met2, [(0,0,0.37,0.26)])

vias_gen_9 = lib.new_cell('vias_gen$9')
R(vias_gen_9, met1, [(0,0,0.37,0.33)])
R(vias_gen_9, via, [(0.11,0.09,0.26,0.24)])
R(vias_gen_9, met2, [(0,0,0.37,0.33)])
R(vias_gen_9, via2, [(0.085,0.065,0.285,0.265)])
R(vias_gen_9, met3, [(0,0,0.37,0.33)])

c_fa = lib.new_cell('fa')
R(c_fa, met1, [(3.545,0.675,3.725,0.785)])
R(c_fa, nsdm, [(-5.775,-0.145,-0.875,0.215)])
c_fa.add(gdstk.FlexPath([(3.545,0.485),(-5.575,0.485),(-5.575,-0.345)], 0.14, ends="flush", simple_path=True, layer=69, datatype=20))  # met2
c_fa.add(gdstk.FlexPath([(-5.51,1.075),(-5.51,-1.195),(-4.315,-1.195)], 0.3, ends="flush", simple_path=True, layer=70, datatype=20))  # met3
c_fa.add(gdstk.FlexPath([(-3.03,0.805),(-3.03,-1.475),(-2.09,-1.475)], 0.3, ends="flush", simple_path=True, layer=70, datatype=20))  # met3
c_fa.add(gdstk.FlexPath([(-5.455,2.225),(-1.27,2.225),(-1.27,-2.105),(-2.455,-2.105)], 0.3, ends="flush", simple_path=True, layer=70, datatype=20))  # met3
c_fa.add(gdstk.Reference(tap_2, (-5.53,0.42)))
c_fa.add(gdstk.Reference(fa_carry_wo_tap, (2.75,0.66)))
c_fa.add(gdstk.Reference(tap_1, (-5.53,-0.35), x_reflection=True))
c_fa.add(gdstk.Reference(fa_sum_wo_tap, (-1.8,-2.54)))
c_fa.add(gdstk.Reference(vias_gen_6, (3.545,0.415)))
c_fa.add(gdstk.Reference(vias_gen_6, (-5.825,-0.605)))
c_fa.add(gdstk.Reference(vias_gen_8, (-5.33,1.075), rotation=pi/2))
c_fa.add(gdstk.Reference(vias_gen_11, (-4.315,-1.305)))
c_fa.add(gdstk.Reference(vias_gen_8, (-4.315,-1.375)))
c_fa.add(gdstk.Reference(vias_gen_8, (-3.18,0.805)))
c_fa.add(gdstk.Reference(vias_gen_9, (-2.09,-1.655)))
c_fa.add(gdstk.Reference(vias_gen_6, (-2.775,-2.05)))
c_fa.add(gdstk.Reference(vias_gen_8, (-2.825,-2.255)))
c_fa.add(gdstk.Reference(vias_gen_9, (-5.825,2.045)))
c_fa.add(gdstk.Label('cin', (-5.755,2.145), layer=68, texttype=5))
c_fa.add(gdstk.Label('a', (-5.77,1.165), layer=68, texttype=5))
c_fa.add(gdstk.Label('b', (-5.77,0.655), layer=68, texttype=5))
c_fa.add(gdstk.Label('sum_n', (-0.89,-1.12), layer=68, texttype=5))
c_fa.add(gdstk.Label('cout_n', (3.76,1.54), layer=68, texttype=5))
c_fa.add(gdstk.Label('DVDD', (-2.395,2.845), layer=68, texttype=5))
c_fa.add(gdstk.Label('DVDD', (-3.66,-2.72), layer=68, texttype=5))
c_fa.add(gdstk.Label('DGND', (-2.39,-0.085), layer=68, texttype=5))

lib.write_gds('fa.gds')
